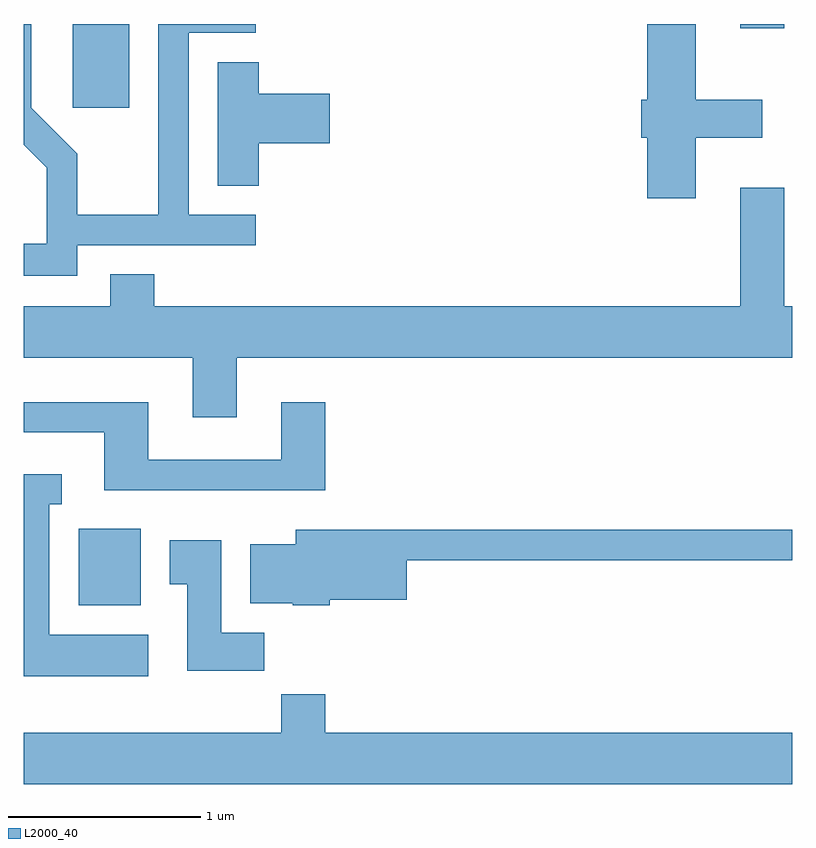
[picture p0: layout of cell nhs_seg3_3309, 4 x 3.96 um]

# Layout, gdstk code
import gdstk
lib = gdstk.Library(unit=1e-6, precision=1e-09)
def R(c, l, rs):  # rectangles x0, y0, x1, y1
    for r in rs: c.add(gdstk.rectangle(r[:2], r[2:], *l))
def P(c, l, *ps):  # polygons
    for p in ps: c.add(gdstk.Polygon(p, *l))
L2000_40 = (2000, 40)

nhs_seg3_3309 = lib.new_cell('nhs_seg3_3309')
R(nhs_seg3_3309, L2000_40, [(281.896,1206.866,282.219,1207.264), (281.866,1209.456,282.159,1209.892), (285.341,1209.871,285.569,1209.892)])
P(nhs_seg3_3309, L2000_40, [(281.889,1208.741),(282.818,1208.741),(282.818,1208.899),(282.469,1208.899),(282.469,1209.846),(282.818,1209.846),(282.818,1209.892),(282.311,1209.892),(282.311,1208.899),(281.889,1208.899),(281.889,1209.217),(281.649,1209.457),(281.649,1209.892),(281.611,1209.892),(281.611,1209.264),(281.731,1209.144),(281.731,1208.749),(281.611,1208.749),(281.611,1208.581),(281.889,1208.581)],
  [(285.109,1209.301),(285.454,1209.301),(285.454,1209.499),(285.109,1209.499),(285.109,1209.892),(284.856,1209.892),(284.856,1209.499),(284.826,1209.499),(284.826,1209.301),(284.856,1209.301),(284.856,1208.986),(285.109,1208.986)],
  [(282.834,1209.271),(283.204,1209.271),(283.204,1209.529),(282.834,1209.529),(282.834,1209.694),(282.621,1209.694),(282.621,1209.051),(282.834,1209.051)],
  [(282.719,1208.156),(285.611,1208.156),(285.611,1208.424),(285.569,1208.424),(285.569,1209.039),(285.341,1209.039),(285.341,1208.424),(282.289,1208.424),(282.289,1208.589),(282.061,1208.589),(282.061,1208.424),(281.611,1208.424),(281.611,1208.156),(282.491,1208.156),(282.491,1207.846),(282.719,1207.846)],
  [(283.179,1207.924),(282.951,1207.924),(282.951,1207.624),(282.259,1207.624),(282.259,1207.924),(281.611,1207.924),(281.611,1207.766),(282.031,1207.766),(282.031,1207.466),(283.179,1207.466)],
  [(282.259,1206.714),(281.744,1206.714),(281.744,1207.391),(281.808,1207.391),(281.808,1207.549),(281.611,1207.549),(281.611,1206.496),(282.259,1206.496)],
  [(283.204,1206.896),(283.604,1206.896),(283.604,1207.101),(285.611,1207.101),(285.611,1207.259),(283.026,1207.259),(283.026,1207.184),(282.791,1207.184),(282.791,1206.876),(283.01,1206.876),(283.01,1206.866),(283.204,1206.866)],
  [(282.864,1206.724),(282.639,1206.724),(282.639,1207.204),(282.371,1207.204),(282.371,1206.976),(282.461,1206.976),(282.461,1206.526),(282.864,1206.526)],
  [(285.611,1206.204),(283.179,1206.204),(283.179,1206.404),(282.951,1206.404),(282.951,1206.204),(281.611,1206.204),(281.611,1205.936),(285.611,1205.936)])

lib.write_gds('nhs_seg3_3309.gds')
